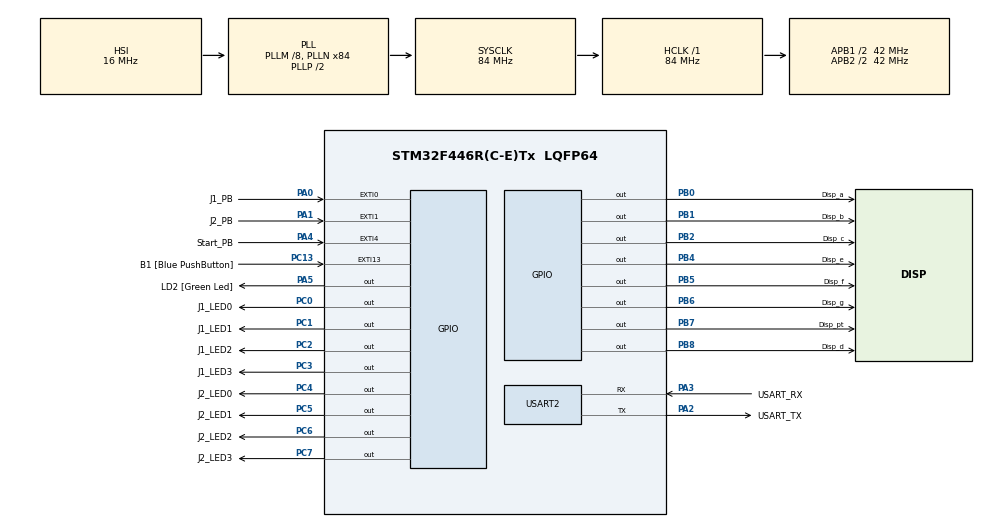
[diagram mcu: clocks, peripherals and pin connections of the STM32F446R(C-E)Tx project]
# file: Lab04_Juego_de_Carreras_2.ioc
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Mcu.Family=STM32F4
Mcu.Name=STM32F446R(C-E)Tx
Mcu.Package=LQFP64
NVIC.EXTI0_IRQn=true\:0\:0\:false\:false\:true\:true\:true\:true
NVIC.EXTI15_10_IRQn=true\:0\:0\:false\:false\:true\:true\:true\:true
NVIC.EXTI1_IRQn=true\:0\:0\:false\:false\:true\:true\:true\:true
NVIC.EXTI4_IRQn=true\:0\:0\:false\:false\:true\:true\:true\:true
NVIC.PriorityGroup=NVIC_PRIORITYGROUP_0
NVIC.TIM2_IRQn=true\:0\:0\:false\:false\:true\:true\:true\:true
PA0-WKUP.GPIO_Label=J1_PB
PA0-WKUP.GPIO_ModeDefaultEXTI=GPIO_MODE_IT_FALLING
PA0-WKUP.GPIO_PuPd=GPIO_PULLUP
PA0-WKUP.Signal=GPXTI0
PA1.GPIO_Label=J2_PB
PA1.GPIO_ModeDefaultEXTI=GPIO_MODE_IT_FALLING
PA1.GPIO_PuPd=GPIO_PULLUP
PA1.Signal=GPXTI1
PA13.GPIO_Label=TMS
PA13.Mode=Serial_Wire
PA13.Signal=SYS_JTMS-SWDIO
PA14.GPIO_Label=TCK
PA14.Mode=Serial_Wire
PA14.Signal=SYS_JTCK-SWCLK
PA2.GPIO_Label=USART_TX
PA2.Mode=Asynchronous
PA2.Signal=USART2_TX
PA3.GPIO_Label=USART_RX
PA3.Mode=Asynchronous
PA3.Signal=USART2_RX
PA4.GPIO_Label=Start_PB
PA4.GPIO_ModeDefaultEXTI=GPIO_MODE_IT_FALLING
PA4.GPIO_PuPd=GPIO_PULLUP
PA4.Signal=GPXTI4
PA5.GPIO_Label=LD2 [Green Led]
PA5.Signal=GPIO_Output
PB0.GPIO_Label=Disp_a
PB0.Signal=GPIO_Output
PB1.GPIO_Label=Disp_b
PB1.Signal=GPIO_Output
PB2.GPIO_Label=Disp_c
PB2.Signal=GPIO_Output
PB3.GPIO_Label=SWO
PB3.Signal=SYS_JTDO-SWO
PB4.GPIO_Label=Disp_e
PB4.Signal=GPIO_Output
PB5.GPIO_Label=Disp_f
PB5.Signal=GPIO_Output
PB6.GPIO_Label=Disp_g
PB6.Signal=GPIO_Output
PB7.GPIO_Label=Disp_pt
PB7.Signal=GPIO_Output
PB8.GPIO_Label=Disp_d
PB8.Signal=GPIO_Output
PC0.GPIO_Label=J1_LED0
PC0.Signal=GPIO_Output
PC1.GPIO_Label=J1_LED1
PC1.Signal=GPIO_Output
PC13.GPIO_Label=B1 [Blue PushButton]
PC13.GPIO_ModeDefaultEXTI=GPIO_MODE_IT_FALLING
PC13.Signal=GPXTI13
PC14-OSC32_IN.Mode=LSE-External-Oscillator
PC14-OSC32_IN.Signal=RCC_OSC32_IN
PC15-OSC32_OUT.Mode=LSE-External-Oscillator
PC15-OSC32_OUT.Signal=RCC_OSC32_OUT
PC2.GPIO_Label=J1_LED2
PC2.Signal=GPIO_Output
PC3.GPIO_Label=J1_LED3
PC3.Signal=GPIO_Output
PC4.GPIO_Label=J2_LED0
PC4.Signal=GPIO_Output
PC5.GPIO_Label=J2_LED1
PC5.Signal=GPIO_Output
PC6.GPIO_Label=J2_LED2
PC6.Signal=GPIO_Output
PC7.GPIO_Label=J2_LED3
PC7.Signal=GPIO_Output
PH0-OSC_IN.Mode=HSE-External-Oscillator
PH0-OSC_IN.Signal=RCC_OSC_IN
PH1-OSC_OUT.Mode=HSE-External-Oscillator
PH1-OSC_OUT.Signal=RCC_OSC_OUT
ProjectManager.HeapSize=0x200
ProjectManager.StackSize=0x400
ProjectManager.TargetToolchain=STM32CubeIDE
RCC.48MHZClocksFreq_Value=84000000
RCC.AHBFreq_Value=84000000
RCC.APB1CLKDivider=RCC_HCLK_DIV2
RCC.APB1Freq_Value=42000000
RCC.APB1TimFreq_Value=84000000
RCC.APB2CLKDivider=RCC_HCLK_DIV2
RCC.APB2Freq_Value=42000000
RCC.APB2TimFreq_Value=84000000
RCC.CortexFreq_Value=84000000
RCC.FLatency-AdvancedSettings=FLASH_LATENCY_2
RCC.HCLKFreq_Value=84000000
RCC.HSE_VALUE=8000000
RCC.HSI_VALUE=16000000
RCC.PLLM=8
RCC.PLLN=84
RCC.SYSCLKFreq_VALUE=84000000
RCC.SYSCLKSource=RCC_SYSCLKSOURCE_PLLCLK
RCC.USBFreq_Value=84000000
RCC.VCOOutputFreq_Value=168000000
TIM2.Period=999
TIM2.Prescaler=83
USART2.VirtualMode=VM_ASYNC
VP_TIM2_VS_ClockSourceINT.Mode=Internal
board=NUCLEO-F446RE

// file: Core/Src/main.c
/* USER CODE BEGIN Header */
/**
  ******************************************************************************
  * @file           : main.c
  * @brief          : Main program body
  ******************************************************************************
  * @attention
  *
  * Copyright (c) 2026 STMicroelectronics.
  * All rights reserved.
  *
  * This software is licensed under terms that can be found in the LICENSE file
  * in the root directory of this software component.
  * If no LICENSE file comes with this software, it is provided AS-IS.
  *
  ******************************************************************************
  */
/* USER CODE END Header */
#include "main.h"

/* USER CODE BEGIN Includes */
#include "stdint.h"
/* USER CODE END Includes */

TIM_HandleTypeDef htim2;

UART_HandleTypeDef huart2;

/* USER CODE BEGIN PV */
uint8_t jugador_1;
uint8_t jugador_2;
uint8_t ganador;
volatile uint8_t pb_start;
volatile uint8_t start;
volatile uint8_t disp_counter;
volatile uint16_t counter;
volatile uint8_t pb_flag;
volatile uint8_t countdown_active = 0;

/* USER CODE END PV */

void SystemClock_Config(void);
static void MX_GPIO_Init(void);
static void MX_USART2_UART_Init(void);
static void MX_TIM2_Init(void);
/* USER CODE BEGIN PFP */
void juego(uint8_t *jugador); // Función del juego
void show_display(uint8_t counter); // Función del display
/* USER CODE END PFP */

int main(void)
{

  /* MCU Configuration--------------------------------------------------------*/

  /* Reset of all peripherals, Initializes the Flash interface and the Systick. */
  HAL_Init();

  /* Configure the system clock */
  SystemClock_Config();

  /* Initialize all configured peripherals */
  MX_GPIO_Init();
  MX_USART2_UART_Init();
  MX_TIM2_Init();
  /* USER CODE BEGIN 2 */
  jugador_1 = 0;
  jugador_2 = 0;
  ganador   = 0;
  pb_flag   = 0;
  counter	= 0;
  start 	= 0;
  pb_start	= 0;
  HAL_TIM_Base_Start_IT(&htim2);

  /* USER CODE END 2 */

  /* Infinite loop */
  /* USER CODE BEGIN WHILE */
  while (1)
  {
	  if (counter == 1000)
	  {
		  disp_counter--;
		  counter = 0;
	  }
	  if (countdown_active == 1 && pb_start == 1)	// Si la bandera de acción de PB5 está encendida entra al if
	  {
		  pb_flag = 0;		// Apaga la bandera de acción de los botones
		  counter = 0;		// Cada vez que entra a la acción del botón 1 reinicia las variables para reiniciar el juego
		  disp_counter = 6;
		  start = 0;
		  ganador = 0;
		  jugador_1 = 0x00;
		  jugador_2 = 0x00;
		  pb_start = 0;
		  HAL_GPIO_WritePin(GPIOC, GPIO_PIN_0, GPIO_PIN_RESET);
		  HAL_GPIO_WritePin(GPIOC, GPIO_PIN_1, GPIO_PIN_RESET);
		  HAL_GPIO_WritePin(GPIOC, GPIO_PIN_2, GPIO_PIN_RESET);
		  HAL_GPIO_WritePin(GPIOC, GPIO_PIN_3, GPIO_PIN_RESET);	// En PORTB se apagan los leds del jugador 1
		  HAL_GPIO_WritePin(GPIOC, GPIO_PIN_4, GPIO_PIN_RESET);
		  HAL_GPIO_WritePin(GPIOC, GPIO_PIN_5, GPIO_PIN_RESET);
		  HAL_GPIO_WritePin(GPIOC, GPIO_PIN_6, GPIO_PIN_RESET);
		  HAL_GPIO_WritePin(GPIOC, GPIO_PIN_7, GPIO_PIN_RESET);	// En PORTC se encienden los leds del jugador 2
	  	}
	  else if (start == 1)	// Una vez termina la cuenta regresiva el juego comienza y es posible realizar la lectura de los botones
	  		{
			  if (pb_flag == 2)	// Se activa si PC0 se presiona y entra a la rutina de jugador 1
			  {
				  pb_flag = 0;		// Apaga la bandera de acción de los botones
				  switch(ganador)		// Detecta si hay un ganador antes de realizar la rutina del juego
				  {
				  	  case 0:			// Si todavía no hay ganador entra al juego
				  		  juego(&jugador_1);	// Llama la subrutina del juego
				  		  HAL_GPIO_WritePin(GPIOC, GPIO_PIN_0, (jugador_1 & 0x01) ? GPIO_PIN_SET : GPIO_PIN_RESET);
				  		  HAL_GPIO_WritePin(GPIOC, GPIO_PIN_1, (jugador_1 & 0x02) ? GPIO_PIN_SET : GPIO_PIN_RESET);
				  		  HAL_GPIO_WritePin(GPIOC, GPIO_PIN_2, (jugador_1 & 0x04) ? GPIO_PIN_SET : GPIO_PIN_RESET);
				  		  HAL_GPIO_WritePin(GPIOC, GPIO_PIN_3, (jugador_1 & 0x08) ? GPIO_PIN_SET : GPIO_PIN_RESET);	// En PORTB se encienden los leds del jugador 1

				  		  if (ganador == 1)	// Si el jugador 1 ganó entonces enciende todos los leds de dicho jugador
				  		  {
				  			  HAL_GPIO_WritePin(GPIOC, GPIO_PIN_0, GPIO_PIN_SET);
				  			  HAL_GPIO_WritePin(GPIOC, GPIO_PIN_1, GPIO_PIN_SET);
				  			  HAL_GPIO_WritePin(GPIOC, GPIO_PIN_2, GPIO_PIN_SET);
				  			  HAL_GPIO_WritePin(GPIOC, GPIO_PIN_3, GPIO_PIN_SET);
				  			  show_display(1);
				  		  }
				  	  break;

				  	  case 1:
				  		  start = 0; // Si ya hay ganador esto impide que siga el juego
				  	  break;
				  }
			  }
			  else if (pb_flag == 3)	// Se activa si PC1 se presiona y entra a la rutina de jugador 2
			  {
				  pb_flag = 0;		// Apaga la bandera de acción de los botones
				  switch(ganador)		// Detecta si hay un ganador antes de realizar la rutina del juego
				  {
				  	  case 0:		// Si todavía no hay ganador entra al juego
				  		  juego(&jugador_2);	// Llama la subrutina del juego
				  		  HAL_GPIO_WritePin(GPIOC, GPIO_PIN_4, (jugador_2 & 0x01) ? GPIO_PIN_SET : GPIO_PIN_RESET);
				  		  HAL_GPIO_WritePin(GPIOC, GPIO_PIN_5, (jugador_2 & 0x02) ? GPIO_PIN_SET : GPIO_PIN_RESET);
				  		  HAL_GPIO_WritePin(GPIOC, GPIO_PIN_6, (jugador_2 & 0x04) ? GPIO_PIN_SET : GPIO_PIN_RESET);
				  		  HAL_GPIO_WritePin(GPIOC, GPIO_PIN_7, (jugador_2 & 0x08) ? GPIO_PIN_SET : GPIO_PIN_RESET);	// En PORTC se encienden los leds del jugador 2

				  		  if (ganador == 1)	// Si el jugador 2 ganó entonces enciende todos los leds de dicho jugador
				  		  {
				  			  HAL_GPIO_WritePin(GPIOC, GPIO_PIN_4, GPIO_PIN_SET);
				  			  HAL_GPIO_WritePin(GPIOC, GPIO_PIN_5, GPIO_PIN_SET);
				  			  HAL_GPIO_WritePin(GPIOC, GPIO_PIN_6, GPIO_PIN_SET);
				  			  HAL_GPIO_WritePin(GPIOC, GPIO_PIN_7, GPIO_PIN_SET);
				  			  show_display(2);
				  		  }
				  	  break;

				  	  case 1:
				  		  start = 0;	// Si el jugador 1 ganó entonces enciende todos los leds de dicho jugador
				  	  break;
							}
						}
					}
    /* USER CODE END WHILE */

  }
}

void SystemClock_Config(void)
{
  RCC_OscInitTypeDef RCC_OscInitStruct = {0};
  RCC_ClkInitTypeDef RCC_ClkInitStruct = {0};

  /** Configure the main internal regulator output voltage
  */
  __HAL_RCC_PWR_CLK_ENABLE();
  __HAL_PWR_VOLTAGESCALING_CONFIG(PWR_REGULATOR_VOLTAGE_SCALE3);

  /** Initializes the RCC Oscillators according to the specified parameters
  * in the RCC_OscInitTypeDef structure.
  */
  RCC_OscInitStruct.OscillatorType = RCC_OSCILLATORTYPE_HSI;
  RCC_OscInitStruct.HSIState = RCC_HSI_ON;
  RCC_OscInitStruct.HSICalibrationValue = RCC_HSICALIBRATION_DEFAULT;
  RCC_OscInitStruct.PLL.PLLState = RCC_PLL_ON;
  RCC_OscInitStruct.PLL.PLLSource = RCC_PLLSOURCE_HSI;
  RCC_OscInitStruct.PLL.PLLM = 8;
  RCC_OscInitStruct.PLL.PLLN = 84;
  RCC_OscInitStruct.PLL.PLLP = RCC_PLLP_DIV2;
  RCC_OscInitStruct.PLL.PLLQ = 2;
  RCC_OscInitStruct.PLL.PLLR = 2;
  if (HAL_RCC_OscConfig(&RCC_OscInitStruct) != HAL_OK)
  {
    Error_Handler();
  }

  /** Initializes the CPU, AHB and APB buses clocks
  */
  RCC_ClkInitStruct.ClockType = RCC_CLOCKTYPE_HCLK|RCC_CLOCKTYPE_SYSCLK
                              |RCC_CLOCKTYPE_PCLK1|RCC_CLOCKTYPE_PCLK2;
  RCC_ClkInitStruct.SYSCLKSource = RCC_SYSCLKSOURCE_PLLCLK;
  RCC_ClkInitStruct.AHBCLKDivider = RCC_SYSCLK_DIV1;
  RCC_ClkInitStruct.APB1CLKDivider = RCC_HCLK_DIV2;
  RCC_ClkInitStruct.APB2CLKDivider = RCC_HCLK_DIV2;

  if (HAL_RCC_ClockConfig(&RCC_ClkInitStruct, FLASH_LATENCY_2) != HAL_OK)
  {
    Error_Handler();
  }
}

static void MX_TIM2_Init(void)
{

  TIM_ClockConfigTypeDef sClockSourceConfig = {0};
  TIM_MasterConfigTypeDef sMasterConfig = {0};

  htim2.Instance = TIM2;
  htim2.Init.Prescaler = 83;
  htim2.Init.CounterMode = TIM_COUNTERMODE_UP;
  htim2.Init.Period = 999;
  htim2.Init.ClockDivision = TIM_CLOCKDIVISION_DIV1;
  htim2.Init.AutoReloadPreload = TIM_AUTORELOAD_PRELOAD_DISABLE;
  if (HAL_TIM_Base_Init(&htim2) != HAL_OK)
  {
    Error_Handler();
  }
  sClockSourceConfig.ClockSource = TIM_CLOCKSOURCE_INTERNAL;
  if (HAL_TIM_ConfigClockSource(&htim2, &sClockSourceConfig) != HAL_OK)
  {
    Error_Handler();
  }
  sMasterConfig.MasterOutputTrigger = TIM_TRGO_RESET;
  sMasterConfig.MasterSlaveMode = TIM_MASTERSLAVEMODE_DISABLE;
  if (HAL_TIMEx_MasterConfigSynchronization(&htim2, &sMasterConfig) != HAL_OK)
  {
    Error_Handler();
  }

}

static void MX_USART2_UART_Init(void)
{

  huart2.Instance = USART2;
  huart2.Init.BaudRate = 115200;
  huart2.Init.WordLength = UART_WORDLENGTH_8B;
  huart2.Init.StopBits = UART_STOPBITS_1;
  huart2.Init.Parity = UART_PARITY_NONE;
  huart2.Init.Mode = UART_MODE_TX_RX;
  huart2.Init.HwFlowCtl = UART_HWCONTROL_NONE;
  huart2.Init.OverSampling = UART_OVERSAMPLING_16;
  if (HAL_UART_Init(&huart2) != HAL_OK)
  {
    Error_Handler();
  }

}

static void MX_GPIO_Init(void)
{
  GPIO_InitTypeDef GPIO_InitStruct = {0};

  /* GPIO Ports Clock Enable */
  __HAL_RCC_GPIOC_CLK_ENABLE();
  __HAL_RCC_GPIOH_CLK_ENABLE();
  __HAL_RCC_GPIOA_CLK_ENABLE();
  __HAL_RCC_GPIOB_CLK_ENABLE();

  /*Configure GPIO pin Output Level */
  HAL_GPIO_WritePin(GPIOC, J1_LED0_Pin|J1_LED1_Pin|J1_LED2_Pin|J1_LED3_Pin
                          |J2_LED0_Pin|J2_LED1_Pin|J2_LED2_Pin|J2_LED3_Pin, GPIO_PIN_RESET);

  /*Configure GPIO pin Output Level */
  HAL_GPIO_WritePin(LD2_GPIO_Port, LD2_Pin, GPIO_PIN_RESET);

  /*Configure GPIO pin Output Level */
  HAL_GPIO_WritePin(GPIOB, Disp_a_Pin|Disp_b_Pin|Disp_c_Pin|Disp_e_Pin
                          |Disp_f_Pin|Disp_g_Pin|Disp_pt_Pin|Disp_d_Pin, GPIO_PIN_RESET);

  /*Configure GPIO pin : B1_Pin */
  GPIO_InitStruct.Pin = B1_Pin;
  GPIO_InitStruct.Mode = GPIO_MODE_IT_FALLING;
  GPIO_InitStruct.Pull = GPIO_NOPULL;
  HAL_GPIO_Init(B1_GPIO_Port, &GPIO_InitStruct);

  /*Configure GPIO pins : J1_LED0_Pin J1_LED1_Pin J1_LED2_Pin J1_LED3_Pin
                           J2_LED0_Pin J2_LED1_Pin J2_LED2_Pin J2_LED3_Pin */
  GPIO_InitStruct.Pin = J1_LED0_Pin|J1_LED1_Pin|J1_LED2_Pin|J1_LED3_Pin
                          |J2_LED0_Pin|J2_LED1_Pin|J2_LED2_Pin|J2_LED3_Pin;
  GPIO_InitStruct.Mode = GPIO_MODE_OUTPUT_PP;
  GPIO_InitStruct.Pull = GPIO_NOPULL;
  GPIO_InitStruct.Speed = GPIO_SPEED_FREQ_LOW;
  HAL_GPIO_Init(GPIOC, &GPIO_InitStruct);

  /*Configure GPIO pins : J1_PB_Pin J2_PB_Pin Start_PB_Pin */
  GPIO_InitStruct.Pin = J1_PB_Pin|J2_PB_Pin|Start_PB_Pin;
  GPIO_InitStruct.Mode = GPIO_MODE_IT_FALLING;
  GPIO_InitStruct.Pull = GPIO_PULLUP;
  HAL_GPIO_Init(GPIOA, &GPIO_InitStruct);

  /*Configure GPIO pin : LD2_Pin */
  GPIO_InitStruct.Pin = LD2_Pin;
  GPIO_InitStruct.Mode = GPIO_MODE_OUTPUT_PP;
  GPIO_InitStruct.Pull = GPIO_NOPULL;
  GPIO_InitStruct.Speed = GPIO_SPEED_FREQ_LOW;
  HAL_GPIO_Init(LD2_GPIO_Port, &GPIO_InitStruct);

  /*Configure GPIO pins : Disp_a_Pin Disp_b_Pin Disp_c_Pin Disp_e_Pin
                           Disp_f_Pin Disp_g_Pin Disp_pt_Pin Disp_d_Pin */
  GPIO_InitStruct.Pin = Disp_a_Pin|Disp_b_Pin|Disp_c_Pin|Disp_e_Pin
                          |Disp_f_Pin|Disp_g_Pin|Disp_pt_Pin|Disp_d_Pin;
  GPIO_InitStruct.Mode = GPIO_MODE_OUTPUT_PP;
  GPIO_InitStruct.Pull = GPIO_NOPULL;
  GPIO_InitStruct.Speed = GPIO_SPEED_FREQ_LOW;
  HAL_GPIO_Init(GPIOB, &GPIO_InitStruct);

  /* EXTI interrupt init*/
  HAL_NVIC_SetPriority(EXTI0_IRQn, 0, 0);
  HAL_NVIC_EnableIRQ(EXTI0_IRQn);

  HAL_NVIC_SetPriority(EXTI1_IRQn, 0, 0);
  HAL_NVIC_EnableIRQ(EXTI1_IRQn);

  HAL_NVIC_SetPriority(EXTI4_IRQn, 0, 0);
  HAL_NVIC_EnableIRQ(EXTI4_IRQn);

  HAL_NVIC_SetPriority(EXTI15_10_IRQn, 0, 0);
  HAL_NVIC_EnableIRQ(EXTI15_10_IRQn);

}

/* USER CODE BEGIN 4 */
void juego(uint8_t *jugador)
{
	if (*jugador == 0)	// Se utiliza un puntero, si el contador del jugador es 0 entonces suma 1
	{
		*jugador = 1;
	}
	else if (*jugador < 0x04)	// Si el contador del jugador es menor que el máximo de leds entonces corre el bit (contador de décadas)
	{
		*jugador <<= 1;
	}
	else	// Si se superó el valor máximo del contador de décadas entonces se enciende la bandera del ganador
	{
		ganador = 1;
	}
}

void show_display(uint8_t disp_counter)
{
	uint8_t disp_value[] = {0x3F, 0x06, 0x5B, 0x4F, 0x66, 0x6D, 0x7D, 0x07, 0x7F,0x6F, 0x77, 0x7C, 0x39, 0x5E, 0x79, 0x71};	// Listado de valores para display
	uint8_t value = disp_value[disp_counter];	// Se saca el valor de la lista equivalente al contador que ingresa a la función

	HAL_GPIO_WritePin(GPIOB, Disp_a_Pin, (value & 0x01) ? GPIO_PIN_SET : GPIO_PIN_RESET);
	HAL_GPIO_WritePin(GPIOB, Disp_b_Pin, (value & 0x02) ? GPIO_PIN_SET : GPIO_PIN_RESET);
	HAL_GPIO_WritePin(GPIOB, Disp_c_Pin, (value & 0x04) ? GPIO_PIN_SET : GPIO_PIN_RESET);
	HAL_GPIO_WritePin(GPIOB, Disp_d_Pin, (value & 0x08) ? GPIO_PIN_SET : GPIO_PIN_RESET);
	HAL_GPIO_WritePin(GPIOB, Disp_e_Pin, (value & 0x10) ? GPIO_PIN_SET : GPIO_PIN_RESET);
	HAL_GPIO_WritePin(GPIOB, Disp_f_Pin, (value & 0x20) ? GPIO_PIN_SET : GPIO_PIN_RESET);
	HAL_GPIO_WritePin(GPIOB, Disp_g_Pin, (value & 0x40) ? GPIO_PIN_SET : GPIO_PIN_RESET);
	HAL_GPIO_WritePin(GPIOB, Disp_pt_Pin, (value & 0x80) ? GPIO_PIN_SET : GPIO_PIN_RESET);
}

void HAL_GPIO_EXTI_Callback(uint16_t GPIO_Pin)
{
	if(GPIO_Pin == J1_PB_Pin)
	{
		pb_flag = 2;
	}
	else if(GPIO_Pin == J2_PB_Pin)
	{
		pb_flag = 3;
	}
	else if(GPIO_Pin == Start_PB_Pin)
	{
		pb_start = 1;
		countdown_active = 1;
	}
}

void HAL_TIM_PeriodElapsedCallback(TIM_HandleTypeDef *htim)
{
  if (htim->Instance == TIM2)
  {
	  if (countdown_active == 1)
	  {
		  counter++;

		  if (disp_counter == 0)	// Una vez el contador llega a cero entonces se enciende la bander de inicio del juego
		  {
			  start = 1;
		  }

		  switch(disp_counter)		// Se hace un switch dependiendo del valor de la bandera de los displays
		  {
		  	  case 5:
		  	  show_display(disp_counter);	// Se muestra el valor de la lista en el display
		  	  break;

		  	  case 4:
		  	  show_display(disp_counter);	// Se muestra el valor de la lista en el display
		  	  break;

		  	  case 3:
		  	  show_display(disp_counter);	// Se muestra el valor de la lista en el display
		  	  break;

		  	  case 2:
		  	  show_display(disp_counter);	// Se muestra el valor de la lista en el display
		  	  break;

		  	  case 1:
		  	  show_display(disp_counter);	// Se muestra el valor de la lista en el display
		  	  break;

		  	  case 0:
		  	  show_display(disp_counter);	// Se muestra el valor de la lista en el display
		  	  pb_start = 0;
		  	  countdown_active = 0;
		  	  start = 1; // Se reinicia el contador
		  	  break;
		  }
	  }
  }

}
/* USER CODE END 4 */

void Error_Handler(void)
{
  __disable_irq();
  while (1)
  {
  }
}
